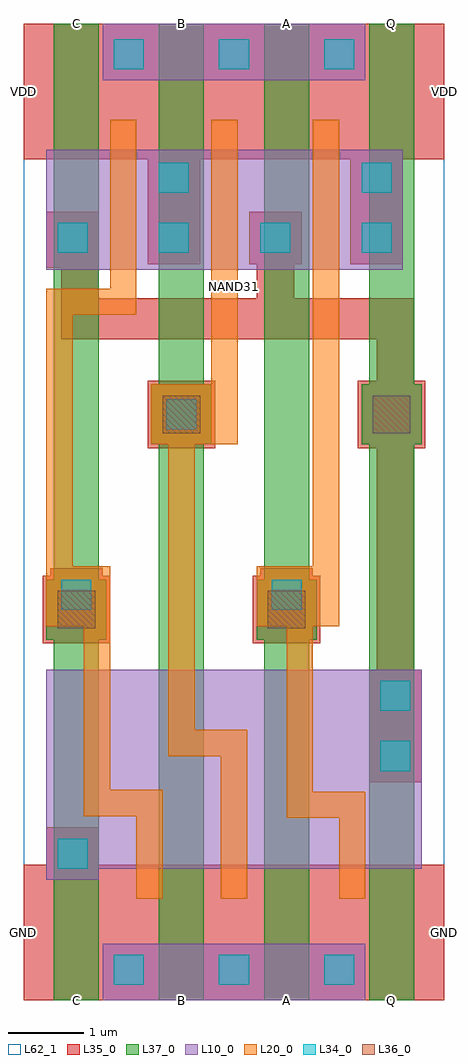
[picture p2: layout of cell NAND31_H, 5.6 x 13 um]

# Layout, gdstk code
import gdstk
lib = gdstk.Library(unit=1e-6, precision=1e-09)
def R(c, l, rs):  # rectangles x0, y0, x1, y1
    for r in rs: c.add(gdstk.rectangle(r[:2], r[2:], *l))
def A(c, l, x, y, w, h, nx, ny, dx, dy):  # array of equal rectangles
    R(c, l, [(x+i*dx, y+j*dy, x+i*dx+w, y+j*dy+h) for i in range(nx) for j in range(ny)])
def P(c, l, *ps):  # polygons
    for p in ps: c.add(gdstk.Polygon(p, *l))
L10_0 = (10, 0)
L20_0 = (20, 0)
L34_0 = (34, 0)
L35_0 = (35, 0)
L36_0 = (36, 0)
L37_0 = (37, 0)
L62_1 = (62, 1)

nand31_h = lib.new_cell('NAND31_H')
R(nand31_h, L10_0, [(1.05,0,4.55,0.75), (0.3,9.725,5.05,11.325), (1.05,12.25,4.55,13)])
P(nand31_h, L10_0, [(5.3,4.4),(0.3,4.4),(0.3,1.6),(1,1.6),(1,1.75),(5.3,1.75)])
P(nand31_h, L20_0, [(4.55,2.775),(3.85,2.775),(3.85,4.975),(4.2,4.975),(4.2,11.725),(3.85,11.725),(3.85,5.775),(3.1,5.775),(3.1,4.975),(3.5,4.975),(3.5,2.425),(4.2,2.425),(4.2,1.35),(4.55,1.35)],
  [(2.975,3.6),(2.275,3.6),(2.275,7.4),(2.85,7.4),(2.85,11.725),(2.5,11.725),(2.5,8.2),(1.7,8.2),(1.7,7.4),(1.925,7.4),(1.925,3.25),(2.625,3.25),(2.625,1.35),(2.975,1.35)],
  [(1.85,2.8),(1.15,2.8),(1.15,5.775),(0.65,5.775),(0.65,9.125),(1.5,9.125),(1.5,11.725),(1.15,11.725),(1.15,9.475),(0.3,9.475),(0.3,4.975),(0.8,4.975),(0.8,2.45),(1.5,2.45),(1.5,1.35),(1.85,1.35)])
A(nand31_h, L34_0, 1.2, 0.2, 0.4, 0.4, 3, 2, 1.4, 12.2)
A(nand31_h, L34_0, 0.45, 9.95, 0.4, 0.4, 4, 1, 1.35, 0)
R(nand31_h, L34_0, [(0.45,1.75,0.85,2.15), (4.75,3.05,5.15,3.45), (4.75,3.85,5.15,4.25), (0.5,5.2,0.9,5.6), (3.3,5.2,3.7,5.6), (1.9,7.6,2.3,8), (1.8,10.75,2.2,11.15), (4.5,10.75,4.9,11.15)])
R(nand31_h, L35_0, [(0.25,4.75,1.15,5.65), (3.05,4.75,3.95,5.65), (1.65,7.35,2.55,8.25), (1.65,7.35,2.55,8.25), (4.45,7.35,5.35,8.25)])
P(nand31_h, L35_0, [(3.95,5.65),(3.85,5.65),(3.85,5.75),(3.15,5.75),(3.15,5.65),(3.05,5.65),(3.05,4.75),(3.95,4.75)],
  [(1.15,5.65),(1.05,5.65),(1.05,5.75),(0.35,5.75),(0.35,5.65),(0.25,5.65),(0.25,4.75),(1.15,4.75)],
  [(5.35,8.25),(5.2,8.25),(5.2,9.35),(3.6,9.35),(3.6,9.8),(3.7,9.8),(3.7,10.5),(3,10.5),(3,9.8),(3.1,9.8),(3.1,9.35),(1,9.35),(1,10.5),(0.3,10.5),(0.3,9.75),(0.5,9.75),(0.5,8.8),(4.7,8.8),(4.7,8.25),(4.45,8.25),(4.45,7.35),(4.7,7.35),(4.7,4.4),(4.6,4.4),(4.6,2.9),(5.3,2.9),(5.3,4.4),(5.2,4.4),(5.2,7.35),(5.35,7.35)],
  [(5.6,13),(0,13),(0,11.2),(1.65,11.2),(1.65,9.8),(2.35,9.8),(2.35,11.2),(4.35,11.2),(4.35,9.8),(5.05,9.8),(5.05,11.2),(5.6,11.2)],
  [(5.6,1.8),(1,1.8),(1,2.3),(0.3,2.3),(0.3,1.8),(0,1.8),(0,0),(5.6,0)])
R(nand31_h, L36_0, [(0.45,4.95,0.95,5.45), (3.25,4.95,3.75,5.45), (1.85,7.55,2.35,8.05), (4.65,7.55,5.15,8.05)])
A(nand31_h, L37_0, 0.4, 0, 0.6, 13, 4, 1, 1.4, 0)
R(nand31_h, L37_0, [(0.3,4.8,1.1,5.6), (3.1,4.8,3.9,5.6), (1.7,7.4,2.5,8.2), (4.5,7.4,5.3,8.2)])
R(nand31_h, L62_1, [(0,0,5.6,13)])
nand31_h.add(gdstk.Label('NAND31', (2.8,9.5), layer=61, texttype=2))
nand31_h.add(gdstk.Label('Q', (4.9,13), layer=37, texttype=0))
nand31_h.add(gdstk.Label('B', (2.1,13), layer=37, texttype=0))
nand31_h.add(gdstk.Label('C', (0.7,13), layer=37, texttype=0))
nand31_h.add(gdstk.Label('A', (3.5,13), layer=37, texttype=0))
nand31_h.add(gdstk.Label('GND', (5.6,0.9), layer=35, texttype=0))
nand31_h.add(gdstk.Label('GND', (0,0.9), layer=35, texttype=0))
nand31_h.add(gdstk.Label('VDD', (5.6,12.1), layer=35, texttype=0))
nand31_h.add(gdstk.Label('VDD', (0,12.1), layer=35, texttype=0))
nand31_h.add(gdstk.Label('Q', (4.9,0), layer=37, texttype=0))
nand31_h.add(gdstk.Label('B', (2.1,0), layer=37, texttype=0))
nand31_h.add(gdstk.Label('C', (0.7,0), layer=37, texttype=0))
nand31_h.add(gdstk.Label('A', (3.5,0), layer=37, texttype=0))

lib.write_gds('NAND31_H.gds')
